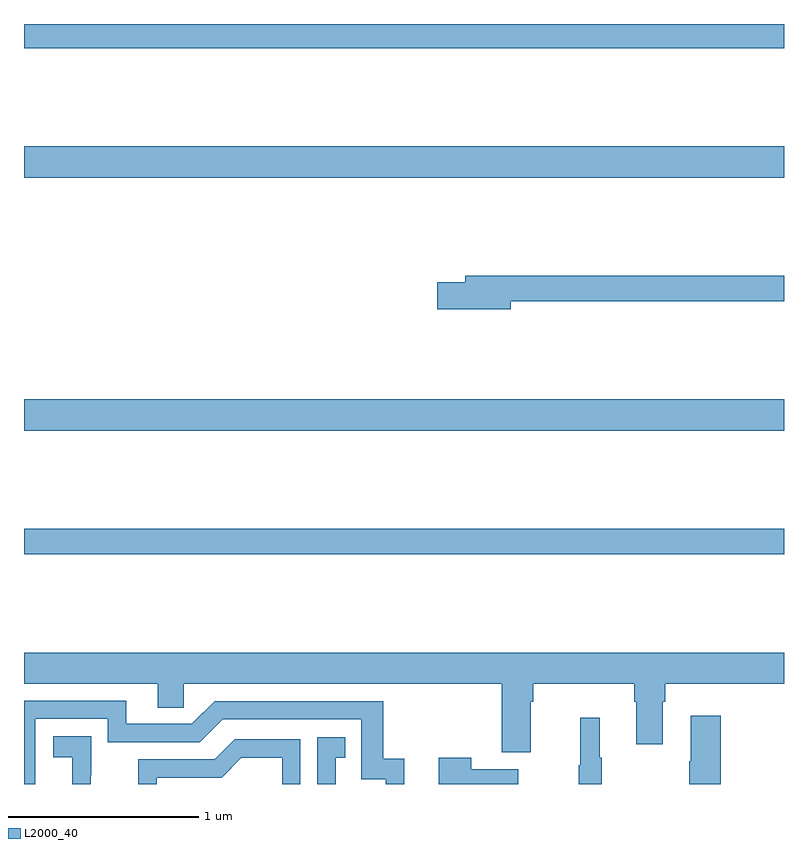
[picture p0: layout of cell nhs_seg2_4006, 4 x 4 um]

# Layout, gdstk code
import gdstk
lib = gdstk.Library(unit=1e-6, precision=1e-09)
def R(c, l, rs):  # rectangles x0, y0, x1, y1
    for r in rs: c.add(gdstk.rectangle(r[:2], r[2:], *l))
def P(c, l, *ps):  # polygons
    for p in ps: c.add(gdstk.Polygon(p, *l))
L2000_40 = (2000, 40)

nhs_seg2_4006 = lib.new_cell('nhs_seg2_4006')
R(nhs_seg2_4006, L2000_40, [(325,623.008,329,623.144), (325,623.66,329,623.824), (325,624.992,329,625.156), (325,625.672,329,625.8)])
P(nhs_seg2_4006, L2000_40, [(327.562,624.34),(329,624.34),(329,624.476),(327.323,624.476),(327.323,624.44),(327.174,624.44),(327.174,624.298),(327.562,624.298)],
  [(327.667,622.232),(327.68,622.232),(327.68,622.328),(328.211,622.328),(328.211,622.232),(328.223,622.232),(328.223,622.008),(328.363,622.008),(328.363,622.232),(328.376,622.232),(328.376,622.328),(329,622.328),(329,622.492),(325,622.492),(325,622.328),(325.703,622.328),(325.703,622.201),(325.842,622.201),(325.842,622.328),(327.515,622.328),(327.515,621.966),(327.667,621.966)],
  [(325.059,622.143),(325.44,622.143),(325.44,622.02),(325.926,622.02),(326.046,622.14),(326.775,622.14),(326.775,621.825),(326.904,621.825),(326.904,621.8),(327.002,621.8),(327.002,621.934),(326.891,621.934),(326.891,622.236),(326.004,622.236),(325.884,622.116),(325.537,622.116),(325.537,622.239),(325,622.239),(325,621.8),(325.059,621.8)],
  [(328.667,622.159),(328.508,622.159),(328.508,621.92),(328.501,621.92),(328.501,621.8),(328.667,621.8)],
  [(328.042,621.937),(328.031,621.937),(328.031,622.15),(327.928,622.15),(327.928,621.9),(327.921,621.9),(327.921,621.8),(328.042,621.8)],
  [(325.352,621.845),(325.353,621.845),(325.353,622.051),(325.155,622.051),(325.155,621.941),(325.253,621.941),(325.253,621.8),(325.352,621.8)],
  [(326.641,621.939),(326.69,621.939),(326.69,622.045),(326.544,622.045),(326.544,621.8),(326.641,621.8)],
  [(325.698,621.834),(326.04,621.834),(326.144,621.938),(326.358,621.938),(326.358,621.8),(326.454,621.8),(326.454,622.035),(326.108,622.035),(326.003,621.93),(325.6,621.93),(325.6,621.8),(325.698,621.8)],
  [(327.601,621.877),(327.353,621.877),(327.353,621.937),(327.182,621.937),(327.182,621.8),(327.601,621.8)])

lib.write_gds('nhs_seg2_4006.gds')
